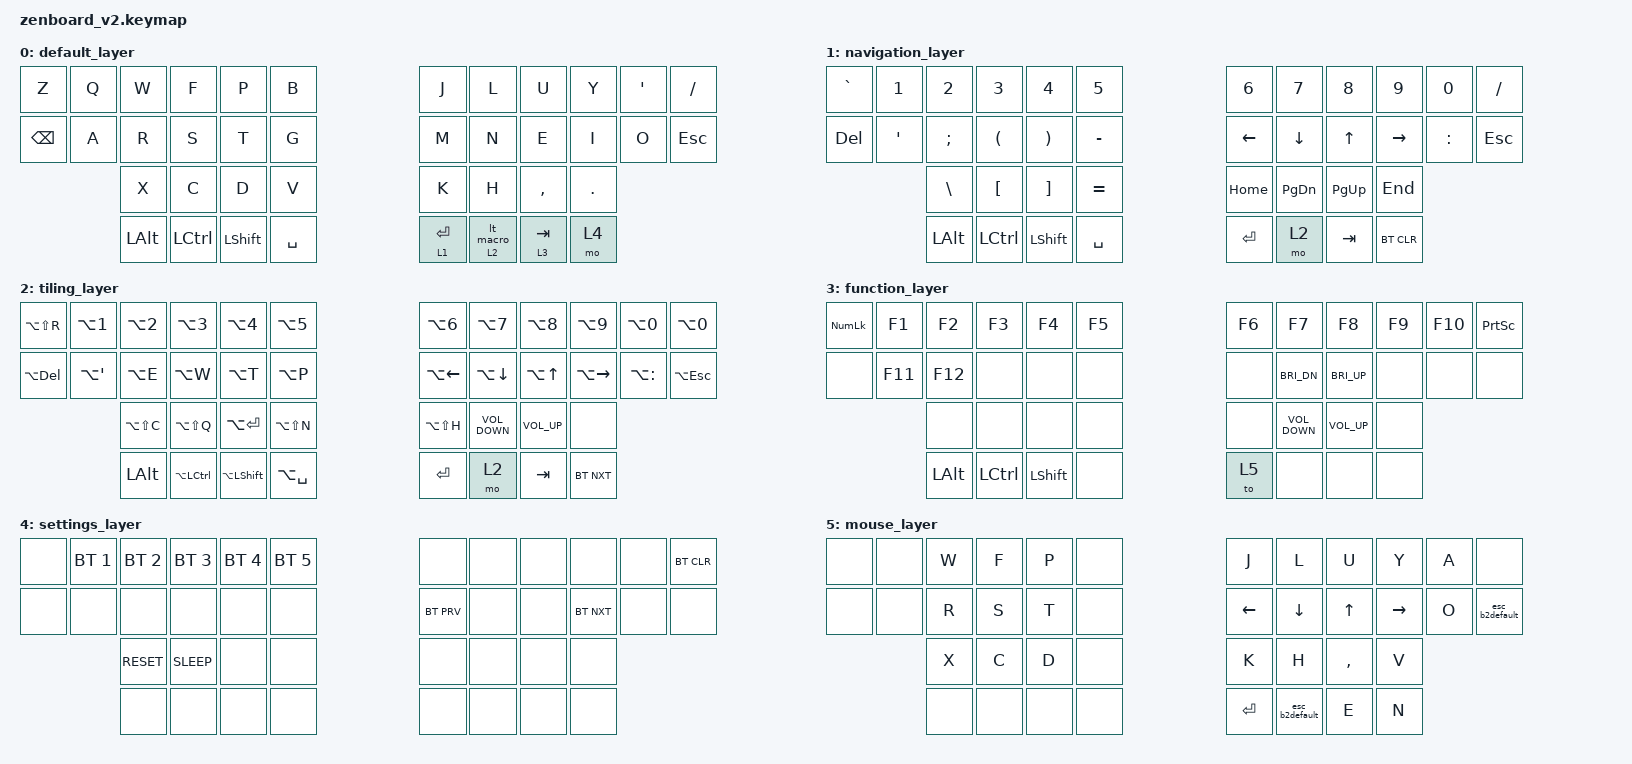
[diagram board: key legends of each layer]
/*
 * Copyright (c) 2020 The ZMK Contributors
 *
 * SPDX-License-Identifier: MIT
 */

#include <behaviors.dtsi>
#include <dt-bindings/zmk/keys.h>
#include <dt-bindings/zmk/bt.h>
/ {
    behaviors {
	esc_b2default: esc_b2default {
		compatible = "zmk,behavior-macro";
		label = "ESC_DEFAULT";
		#binding-cells = <0>;
        bindings = <&kp ESCAPE>,
                   <&to 0>;
	};
	lt_macro: lt_macro {
		compatible = "zmk,behavior-macro";
		label = "LT_MACRO";
		#binding-cells = <0>;
        bindings = <&kp LA(LS(N))>,  
                       <&to 5>;
	};
	mouse_macro: mouse_macro {
            compatible = "zmk,behavior-hold-tap";
            label = "MOUSE_MACRO";
            #binding-cells = <2>;
            tapping-term-ms = <190>;
            quick-tap-ms = <250>;
            flavor = "tap-preferred";
            bindings = <&mo>, <&lt_macro>;
        };
};



        keymap {
                compatible = "zmk,keymap";

                default_layer {
// -----------------------------------------------------------------------------------------
// |   Z  |  Q  |  W  |  F  |  P  |  B  |                 |  J  |  L   |  U  |  Y  |  P  |  /   |
// | BSPC |  A  |  R  |  S  |  T  |  G  |                 |  M  |  N   |  E  |  I  |  O  | ESC  |
//              |  X  |  C  |  D  |  V  |                 |  K  |  H   |  <  |  >  | 
//                    | ALT | CTRL| SHFT| SPC | | ENT/NAV | i3  |TAB/F3| UTL |

                        bindings = <
 &kp   Z       &kp  Q  &kp  W   &kp  F    &kp  P     &kp  B                      &kp  J    &kp  L     &kp  U    &kp  Y  &kp  SQT &kp SLASH  
 &kp BACKSPACE &kp  A  &kp  R   &kp  S    &kp  T     &kp  G                      &kp  M    &kp  N     &kp  E    &kp  I  &kp  O   &kp ESCAPE
                       &kp  X   &kp  C    &kp  D     &kp  V                      &kp  K    &kp  H     &kp COMMA &kp DOT 
                       &kp LALT &kp LCTRL &kp LSHIFT  &kp SPACE      &lt 1 ENTER  &mouse_macro  2 0   &lt 3 TAB    &mo 4
                        >;
                };

                navigation_layer {
                        bindings = <
 &kp   GRAVE   &kp N1  &kp N2   &kp N3    &kp N4     &kp  N5                  &kp  N6   &kp  N7    &kp  N8   &kp N9     &kp  N0     &kp SLASH  
 &kp DELETE    &kp SQT &kp SEMI &kp LPAR  &kp RPAR   &kp  MINUS               &kp LEFT  &kp  DOWN  &kp  UP   &kp RIGHT  &kp  COLON  &kp ESCAPE
                 &kp BACKSLASH  &kp LBKT  &kp RBKT   &kp  EQUAL               &kp HOME  &kp PG_DN  &kp PG_UP &kp END 
                  &kp LEFT_ALT  &kp LCTRL &kp LSHIFT &kp SPACE            &kp ENTER &mo  2     &kp TAB   &bt BT_CLR
                        >;
                };
                tiling_layer {
                        bindings = <
 &kp LA(LS(R)) &kp LA(N1)    &kp LA(N2)    &kp LA(N3)    &kp LA(N4)     &kp LA(N5)                &kp LA(N6)    &kp LA(N7)    &kp LA(N8) &kp LA(N9)    &kp  LA(N0)   &kp LA(N0)  
 &kp LA(DELETE) &kp LA(SQT)   &kp LA(E)     &kp LA(W)     &kp LA(T)      &kp  LA(P)                &kp LA(LEFT)  &kp  LA(DOWN) &kp LA(UP) &kp LA(RIGHT) &kp LA(COLON) &kp LA(ESCAPE)
                              &kp LA(LS(C)) &kp LA(LS(Q)) &kp LA(ENTER)  &kp LA(LS(N))    &kp LA(LS(H)) &kp C_VOLUME_DOWN  &kp K_VOLUME_UP &none
                  &kp LEFT_ALT  &kp LA(LCTRL) &kp LA(LSHIFT) &kp LA(SPACE)            &kp ENTER &mo  2     &kp TAB   &bt BT_NXT
                        >;
                };
                function_layer {
                        bindings = <
 &kp KP_NUMLOCK &kp F1  &kp F2   &kp F3    &kp F4     &kp  F5                  &kp  F6   &kp  F7    &kp  F8   &kp F9     &kp  F10     &kp PRINTSCREEN  
 &none          &kp F11 &kp F12  &none     &none      &none                    &none     &kp  C_BRI_DN  &kp  C_BRI_UP   &none  &none  &none
                &none   &none    &none     &none                               &none     &kp C_VOLUME_DOWN  &kp K_VOLUME_UP  &none
                  &kp LEFT_ALT  &kp LCTRL &kp LSHIFT  &none                    &to 5     &none              &none            &none
                        >;
                };
                settings_layer {
                        bindings = <
 &none &bt BT_SEL 1 &bt BT_SEL 2 &bt BT_SEL 3 &bt BT_SEL 4 &bt BT_SEL 5       &none      &none &none   &none       &none        &bt  BT_CLR  
 &none          &none &none  &none     &none      &none                       &bt BT_PRV &none &none   &bt BT_NXT  &none        &none
                &kp C_RESET  &kp K_SLEEP  &none   &none                       &none      &none &none   &none




                &none        &none        &none   &none                       &none      &none &none   &none
                        >;
                };
                mouse_layer {
                        bindings = <
&none    &none    &kp W   &kp  F   &kp P   &none                &kp J &kp L &kp U &kp Y &kp A  &none    
&none    &none    &kp R   &kp  S   &kp T   &none                &kp LEFT  &kp  DOWN  &kp  UP   &kp RIGHT    &kp O  &esc_b2default
                  &kp X   &kp  C   &kp D   &none                &kp K  &kp H  &kp COMMA &kp V
                  &none    &none    &none    &none                &kp ENTER &esc_b2default &kp E  &kp N
                        >;
                };
        };
};
